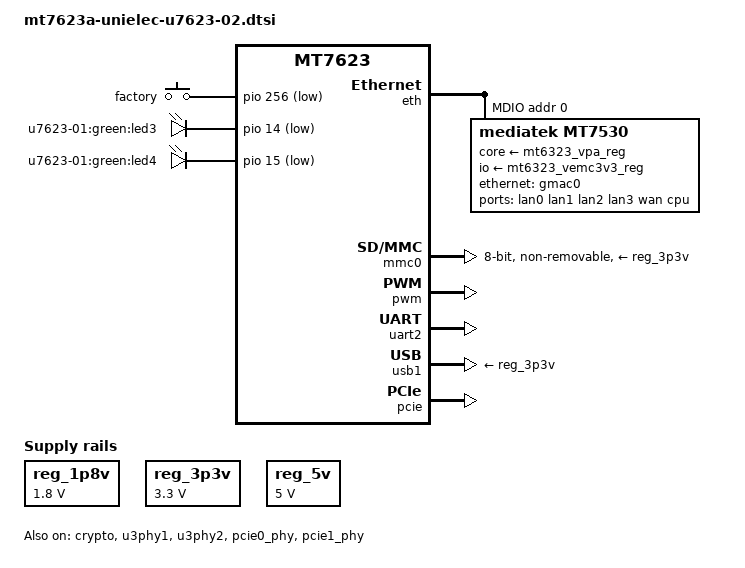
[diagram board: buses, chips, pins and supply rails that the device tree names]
// SPDX-License-Identifier: (GPL-2.0-or-later OR MIT)
/*
 * Copyright 2018 Kristian Evensen <kristian.evensen@gmail.com>
 */

#include <dt-bindings/input/input.h>
#include "mt7623.dtsi"
#include "mt6323.dtsi"

/ {
	compatible = "unielec,u7623-02", "mediatek,mt7623";

	aliases {
		serial0 = &uart2;
		ethernet0 = &gmac0;
		mmc0 = &mmc0;
		led-boot = &led3_green;
		led-failsafe = &led3_green;
		led-running = &led3_green;
		led-upgrade = &led3_green;
	};

	chosen {
		stdout-path = "serial0:115200n8";
	};

	cpus {
		cpu@0 {
			proc-supply = <&mt6323_vproc_reg>;
		};

		cpu@1 {
			proc-supply = <&mt6323_vproc_reg>;
		};

		cpu@2 {
			proc-supply = <&mt6323_vproc_reg>;
		};

		cpu@3 {
			proc-supply = <&mt6323_vproc_reg>;
		};
	};

	reg_1p8v: regulator-1p8v {
		compatible = "regulator-fixed";
		regulator-name = "fixed-1.8V";
		regulator-min-microvolt = <1800000>;
		regulator-max-microvolt = <1800000>;
		regulator-boot-on;
		regulator-always-on;
	};

	reg_3p3v: regulator-3p3v {
		compatible = "regulator-fixed";
		regulator-name = "fixed-3.3V";
		regulator-min-microvolt = <3300000>;
		regulator-max-microvolt = <3300000>;
		regulator-boot-on;
		regulator-always-on;
	};

	reg_5v: regulator-5v {
		compatible = "regulator-fixed";
		regulator-name = "fixed-5V";
		regulator-min-microvolt = <5000000>;
		regulator-max-microvolt = <5000000>;
		regulator-boot-on;
		regulator-always-on;
	};

	gpio-keys {
		compatible = "gpio-keys";
		pinctrl-names = "default";
		pinctrl-0 = <&key_pins_a>;

		factory {
			label = "factory";
			linux,code = <KEY_RESTART>;
			gpios = <&pio 256 GPIO_ACTIVE_LOW>;
		};
	};

	leds {
		compatible = "gpio-leds";
		pinctrl-names = "default";
		pinctrl-0 = <&led_pins_unielec>;

		led3_green: led3 {
			label = "u7623-01:green:led3";
			gpios = <&pio 14 GPIO_ACTIVE_LOW>;
		};

		led4 {
			label = "u7623-01:green:led4";
			gpios = <&pio 15 GPIO_ACTIVE_LOW>;
		};
	};
};

&crypto {
	status = "okay";
};

&eth {
	status = "okay";

	gmac0: mac@0 {
		compatible = "mediatek,eth-mac";
		reg = <0>;
		phy-mode = "trgmii";

		fixed-link {
			speed = <1000>;
			full-duplex;
			pause;
		};
	};

	mdio: mdio-bus {
		#address-cells = <1>;
		#size-cells = <0>;

		mt7530: switch@0 {
			compatible = "mediatek,mt7530";
		};
	};
};

&mt7530 {
	compatible = "mediatek,mt7530";
	#address-cells = <1>;
	#size-cells = <0>;
	reg = <0>;
	pinctrl-names = "default";
	mediatek,mcm;
	resets = <&ethsys 2>;
	reset-names = "mcm";
	core-supply = <&mt6323_vpa_reg>;
	io-supply = <&mt6323_vemc3v3_reg>;

	dsa,mii-bus = <&mdio>;

	ports {
		#address-cells = <1>;
		#size-cells = <0>;
		reg = <0>;

		port@0 {
			reg = <0>;
			label = "lan0";
			cpu = <&cpu_port0>;
		};

		port@1 {
			reg = <1>;
			label = "lan1";
			cpu = <&cpu_port0>;
		};

		port@2 {
			reg = <2>;
			label = "lan2";
			cpu = <&cpu_port0>;
		};

		port@3 {
			reg = <3>;
			label = "lan3";
			cpu = <&cpu_port0>;
		};

		port@4 {
			reg = <4>;
			label = "wan";
			cpu = <&cpu_port0>;
		};

		cpu_port0: port@6 {
			reg = <6>;
			label = "cpu";
			ethernet = <&gmac0>;
			phy-mode = "trgmii";

			fixed-link {
				speed = <1000>;
				full-duplex;
			};
		};
	};
};

&mmc0 {
	pinctrl-names = "default", "state_uhs";
	pinctrl-0 = <&mmc0_pins_default>;
	pinctrl-1 = <&mmc0_pins_uhs>;
	status = "okay";
	bus-width = <8>;
	max-frequency = <50000000>;
	cap-mmc-highspeed;
	vmmc-supply = <&reg_3p3v>;
	vqmmc-supply = <&reg_1p8v>;
	non-removable;
};

&pio {
	key_pins_a: keys-alt {
		pins-keys {
			pinmux = <MT7623_PIN_256_GPIO256_FUNC_GPIO256>,
				 <MT7623_PIN_257_GPIO257_FUNC_GPIO257>;
			input-enable;
		};
	};

	led_pins_unielec: leds-unielec {
		pins-leds {
			pinmux = <MT7623_PIN_14_GPIO14_FUNC_GPIO14>,
				 <MT7623_PIN_15_GPIO15_FUNC_GPIO15>;
		};
	};

	mmc0_pins_default: mmc0default {
		pins_cmd_dat {
			pinmux = <MT7623_PIN_111_MSDC0_DAT7_FUNC_MSDC0_DAT7>,
				 <MT7623_PIN_112_MSDC0_DAT6_FUNC_MSDC0_DAT6>,
				 <MT7623_PIN_113_MSDC0_DAT5_FUNC_MSDC0_DAT5>,
				 <MT7623_PIN_114_MSDC0_DAT4_FUNC_MSDC0_DAT4>,
				 <MT7623_PIN_118_MSDC0_DAT3_FUNC_MSDC0_DAT3>,
				 <MT7623_PIN_119_MSDC0_DAT2_FUNC_MSDC0_DAT2>,
				 <MT7623_PIN_120_MSDC0_DAT1_FUNC_MSDC0_DAT1>,
				 <MT7623_PIN_121_MSDC0_DAT0_FUNC_MSDC0_DAT0>,
				 <MT7623_PIN_116_MSDC0_CMD_FUNC_MSDC0_CMD>;
			input-enable;
			bias-pull-up;
		};

		pins_clk {
			pinmux = <MT7623_PIN_117_MSDC0_CLK_FUNC_MSDC0_CLK>;
			bias-pull-down;
		};

		pins_rst {
			pinmux = <MT7623_PIN_115_MSDC0_RSTB_FUNC_MSDC0_RSTB>;
			bias-pull-up;
		};
	};

	mmc0_pins_uhs: mmc0 {
		pins_cmd_dat {
			pinmux = <MT7623_PIN_111_MSDC0_DAT7_FUNC_MSDC0_DAT7>,
				 <MT7623_PIN_112_MSDC0_DAT6_FUNC_MSDC0_DAT6>,
				 <MT7623_PIN_113_MSDC0_DAT5_FUNC_MSDC0_DAT5>,
				 <MT7623_PIN_114_MSDC0_DAT4_FUNC_MSDC0_DAT4>,
				 <MT7623_PIN_118_MSDC0_DAT3_FUNC_MSDC0_DAT3>,
				 <MT7623_PIN_119_MSDC0_DAT2_FUNC_MSDC0_DAT2>,
				 <MT7623_PIN_120_MSDC0_DAT1_FUNC_MSDC0_DAT1>,
				 <MT7623_PIN_121_MSDC0_DAT0_FUNC_MSDC0_DAT0>,
				 <MT7623_PIN_116_MSDC0_CMD_FUNC_MSDC0_CMD>;
			input-enable;
			drive-strength = <MTK_DRIVE_2mA>;
			bias-pull-up = <MTK_PUPD_SET_R1R0_01>;
		};

		pins_clk {
			pinmux = <MT7623_PIN_117_MSDC0_CLK_FUNC_MSDC0_CLK>;
			drive-strength = <MTK_DRIVE_2mA>;
			bias-pull-down = <MTK_PUPD_SET_R1R0_01>;
		};

		pins_rst {
			pinmux = <MT7623_PIN_115_MSDC0_RSTB_FUNC_MSDC0_RSTB>;
			bias-pull-up;
		};
	};

	pcie_default: pcie_pin_default {
		pins_cmd_dat {
			pinmux = <MT7623_PIN_208_AUD_EXT_CK1_FUNC_PCIE0_PERST_N>,
				 <MT7623_PIN_209_AUD_EXT_CK2_FUNC_PCIE1_PERST_N>;
			bias-disable;
		};
	};
};

&pwm {
	pinctrl-names = "default";
	pinctrl-0 = <&pwm_pins_a>;
	status = "okay";
};

&pwrap {
	mt6323 {
		mt6323led: led {
			compatible = "mediatek,mt6323-led";
			#address-cells = <1>;
			#size-cells = <0>;

			led@0 {
				reg = <0>;
				label = "led0";
			};
		};
	};
};

&mt6323keys {
	mediatek,long-press-mode = <0>;
};

&uart2 {
	pinctrl-names = "default";
	pinctrl-0 = <&uart2_pins_b>;
	status = "okay";
};

&usb1 {
	vusb33-supply = <&reg_3p3v>;
	vbus-supply = <&reg_3p3v>;
	status = "okay";
};

&u3phy1 {
	status = "okay";
};

&u3phy2 {
	status = "okay";
	mediatek,phy-switch = <&hifsys>;
};

&pcie {
	pinctrl-names = "default";
	pinctrl-0 = <&pcie_default>;
	status = "okay";

	pcie@0,0 {
		status = "okay";
	};

	pcie@1,0 {
		status = "okay";
	};

	pcie@2,0 {
		status = "okay";
	};
};

&pcie0_phy {
	status = "okay";
};

&pcie1_phy {
	status = "okay";
};

